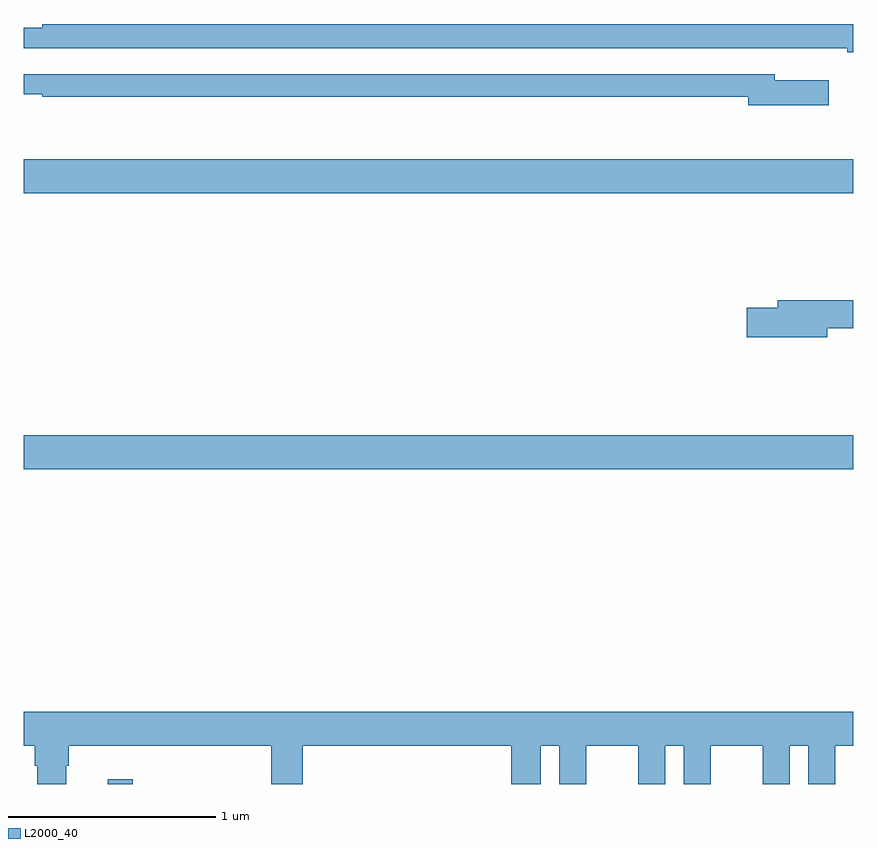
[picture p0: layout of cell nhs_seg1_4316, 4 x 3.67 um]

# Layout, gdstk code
import gdstk
lib = gdstk.Library(unit=1e-6, precision=1e-09)
def R(c, l, rs):  # rectangles x0, y0, x1, y1
    for r in rs: c.add(gdstk.rectangle(r[:2], r[2:], *l))
def P(c, l, *ps):  # polygons
    for p in ps: c.add(gdstk.Polygon(p, *l))
L2000_40 = (2000, 40)

nhs_seg1_4316 = lib.new_cell('nhs_seg1_4316')
R(nhs_seg1_4316, L2000_40, [(345.404,566.199,345.526,566.221), (345,567.716,349,567.88), (345,569.048,349,569.212)])
P(nhs_seg1_4316, L2000_40, [(349,569.864),(345.088,569.864),(345.088,569.845),(345,569.845),(345,569.748),(348.718,569.748),(348.718,569.747),(348.97,569.747),(348.97,569.728),(349,569.728)],
  [(348.883,569.593),(348.622,569.593),(348.622,569.622),(345,569.622),(345,569.526),(345.088,569.526),(345.088,569.514),(348.494,569.514),(348.494,569.471),(348.883,569.471)],
  [(348.874,568.396),(349,568.396),(349,568.532),(348.635,568.532),(348.635,568.496),(348.486,568.496),(348.486,568.354),(348.874,568.354)],
  [(345.205,566.286),(345.218,566.286),(345.218,566.384),(346.193,566.384),(346.193,566.199),(346.345,566.199),(346.345,566.384),(347.351,566.384),(347.351,566.199),(347.494,566.199),(347.494,566.384),(347.582,566.384),(347.582,566.199),(347.713,566.199),(347.713,566.384),(347.963,566.384),(347.963,566.199),(348.094,566.199),(348.094,566.384),(348.182,566.384),(348.182,566.199),(348.313,566.199),(348.313,566.384),(348.563,566.384),(348.563,566.199),(348.694,566.199),(348.694,566.384),(348.782,566.384),(348.782,566.199),(348.913,566.199),(348.913,566.384),(349,566.384),(349,566.548),(345,566.548),(345,566.384),(345.053,566.384),(345.053,566.286),(345.065,566.286),(345.065,566.199),(345.205,566.199)])

lib.write_gds('nhs_seg1_4316.gds')
